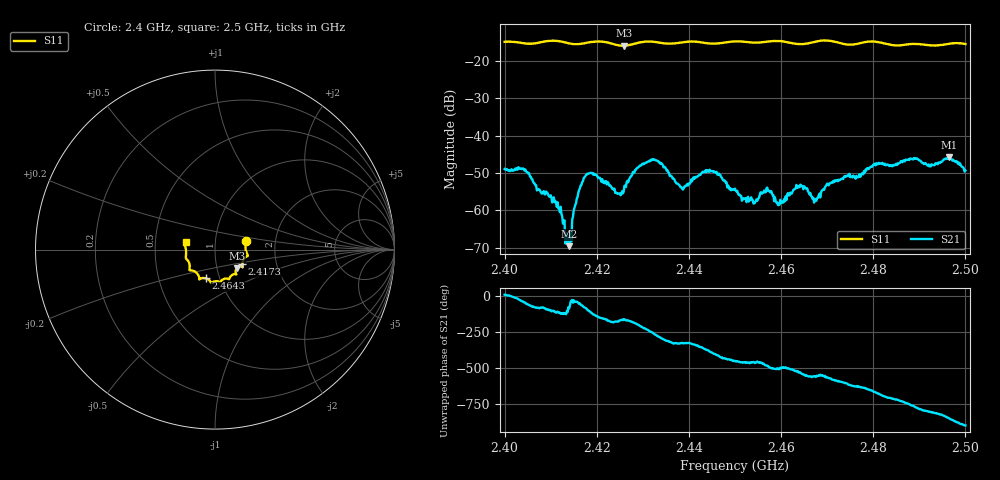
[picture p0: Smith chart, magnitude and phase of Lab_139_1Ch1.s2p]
# Hz S RI R 50
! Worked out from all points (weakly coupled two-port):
!   601 points, 2.4 GHz to 2.5 GHz, reference 50 ohm
!   highest |S21| = -45.83 dB at 2.4965 GHz (marker M1); lowest = -69.6 dB at 2.414 GHz (marker M2)
!   lowest |S11| = -15.9 dB at 2.4258 GHz (marker M3), VSWR 1.38, Z = 62.3 - j13.3 ohm
!   |S11| at or under -10 dB: start of sweep to end of sweep
!   S12 and S22 are empty: the file has one direction only
!   S11 on the Smith chart (normalised r, x): 2.4 GHz: 1.41, +0.14; 2.4173 GHz: 1.34, -0.23; 2.4643 GHz: 0.86, -0.28; 2.5 GHz: 0.72, +0.06
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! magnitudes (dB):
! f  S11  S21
! 2.4 GHz  -14.9  -48.9
! 2.4043 GHz  -15.3  -49.4
! 2.411 GHz  -14.6  -57.5
! 2.414 GHz  -15.3  -69.6
! 2.4152 GHz  -15.5  -59.3
! 2.4167 GHz  -15.4  -53.2
! 2.4173 GHz  -15.2  -51.1
! 2.4192 GHz  -14.8  -50.4
! 2.4258 GHz  -15.9  -55.0
! 2.4292 GHz  -15.1  -48.3
! 2.4333 GHz  -15.0  -46.8
! 2.4383 GHz  -15.1  -53.8
! 2.4445 GHz  -15.3  -49.1
! 2.45 GHz  -14.7  -54.2
! 2.4543 GHz  -15.1  -58.0
! 2.4573 GHz  -14.8  -54.7
! 2.4595 GHz  -14.6  -58.1
! 2.4643 GHz  -15.5  -53.5
! 2.4667 GHz  -15.0  -56.3
! 2.4833 GHz  -15.6  -47.9
! 2.4965 GHz  -15.4  -45.8
! 2.5 GHz  -15.4  -49.3
